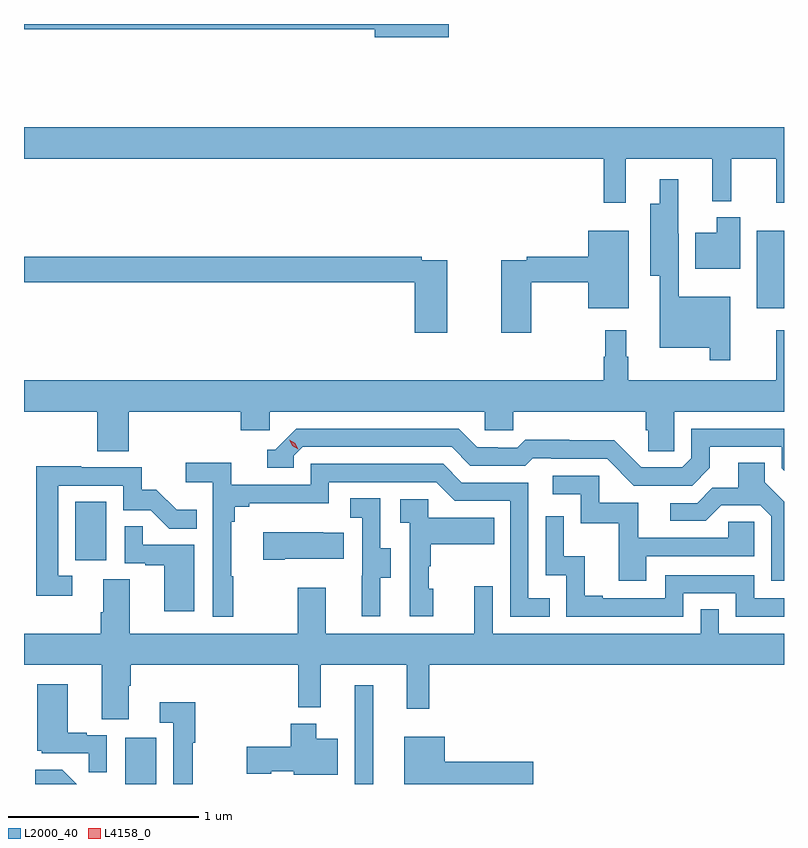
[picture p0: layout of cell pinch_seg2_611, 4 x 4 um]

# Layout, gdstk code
import gdstk
lib = gdstk.Library(unit=1e-6, precision=1e-09)
def R(c, l, rs):  # rectangles x0, y0, x1, y1
    for r in rs: c.add(gdstk.rectangle(r[:2], r[2:], *l))
def P(c, l, *ps):  # polygons
    for p in ps: c.add(gdstk.Polygon(p, *l))
L2000_40 = (2000, 40)
L4158_0 = (4158, 0)

pinch_seg2_611 = lib.new_cell('pinch_seg2_611')
R(pinch_seg2_611, L2000_40, [(1041.374,603.052,1041.538,603.295), (1042.581,603.052,1042.678,603.571), (1041.11,604.23,1041.274,604.537), (1044.698,605.555,1044.841,605.965)])
P(pinch_seg2_611, L2000_40, [(1043.077,607.052),(1040.841,607.052),(1040.841,607.024),(1042.688,607.024),(1042.688,606.982),(1043.077,606.982)],
  [(1044.009,606.344),(1044.464,606.344),(1044.464,606.119),(1044.564,606.119),(1044.564,606.344),(1044.799,606.344),(1044.799,606.111),(1044.841,606.111),(1044.841,606.508),(1040.841,606.508),(1040.841,606.344),(1043.893,606.344),(1043.893,606.111),(1044.009,606.111)],
  [(1044.558,605.617),(1044.286,605.617),(1044.286,605.949),(1044.285,605.949),(1044.285,606.235),(1044.188,606.235),(1044.188,606.106),(1044.137,606.106),(1044.137,605.726),(1044.188,605.726),(1044.188,605.348),(1044.45,605.348),(1044.45,605.283),(1044.558,605.283)],
  [(1044.61,606.034),(1044.488,606.034),(1044.488,605.953),(1044.374,605.953),(1044.374,605.765),(1044.61,605.765)],
  [(1043.512,605.692),(1043.81,605.692),(1043.81,605.555),(1044.025,605.555),(1044.025,605.965),(1043.81,605.965),(1043.81,605.828),(1043.488,605.828),(1043.488,605.808),(1043.354,605.808),(1043.354,605.427),(1043.512,605.427)],
  [(1043.068,605.808),(1042.934,605.808),(1042.934,605.828),(1040.841,605.828),(1040.841,605.692),(1042.898,605.692),(1042.898,605.427),(1043.068,605.427)],
  [(1041.392,605.012),(1041.983,605.012),(1041.983,604.914),(1042.134,604.914),(1042.134,605.012),(1043.265,605.012),(1043.265,604.914),(1043.415,604.914),(1043.415,605.012),(1044.113,605.012),(1044.113,604.914),(1044.127,604.914),(1044.127,604.804),(1044.264,604.804),(1044.264,605.012),(1044.841,605.012),(1044.841,605.44),(1044.799,605.44),(1044.799,605.176),(1044.022,605.176),(1044.022,605.3),(1044.01,605.3),(1044.01,605.44),(1043.901,605.44),(1043.901,605.3),(1043.893,605.3),(1043.893,605.176),(1040.841,605.176),(1040.841,605.012),(1041.227,605.012),(1041.227,604.804),(1041.392,604.804)],
  [(1044.451,604.717),(1044.451,604.827),(1044.828,604.827),(1044.828,604.713),(1044.841,604.7),(1044.841,604.923),(1044.354,604.923),(1044.354,604.767),(1044.306,604.719),(1044.09,604.719),(1043.948,604.861),(1043.712,604.861),(1043.712,604.864),(1043.479,604.864),(1043.437,604.821),(1043.334,604.821),(1043.334,604.824),(1043.227,604.824),(1043.128,604.923),(1042.275,604.923),(1042.164,604.812),(1042.121,604.812),(1042.121,604.716),(1042.26,604.716),(1042.26,604.779),(1042.308,604.827),(1043.091,604.827),(1043.19,604.728),(1043.479,604.728),(1043.518,604.767),(1043.617,604.767),(1043.617,604.764),(1043.91,604.764),(1044.051,604.623),(1044.357,604.623)],
  [(1044.841,604.538),(1044.739,604.64),(1044.739,604.742),(1044.599,604.742),(1044.599,604.61),(1044.464,604.61),(1044.384,604.53),(1044.243,604.53),(1044.243,604.437),(1044.43,604.437),(1044.511,604.518),(1044.717,604.518),(1044.774,604.461),(1044.774,604.122),(1044.841,604.122)],
  [(1041.943,604.145),(1041.931,604.145),(1041.931,604.433),(1041.95,604.433),(1041.95,604.51),(1042.027,604.51),(1042.027,604.529),(1042.446,604.529),(1042.446,604.641),(1043.01,604.641),(1043.109,604.542),(1043.4,604.542),(1043.4,603.933),(1043.609,603.933),(1043.609,604.029),(1043.496,604.029),(1043.496,604.638),(1043.146,604.638),(1043.047,604.737),(1042.35,604.737),(1042.35,604.626),(1041.932,604.626),(1041.932,604.742),(1041.693,604.742),(1041.693,604.64),(1041.834,604.64),(1041.834,603.933),(1041.943,603.933)],
  [(1041.094,604.149),(1041.021,604.149),(1041.021,604.623),(1041.363,604.623),(1041.363,604.494),(1041.507,604.494),(1041.605,604.396),(1041.749,604.396),(1041.749,604.495),(1041.645,604.495),(1041.538,604.602),(1041.462,604.602),(1041.462,604.719),(1041.143,604.719),(1041.143,604.724),(1040.905,604.724),(1040.905,604.044),(1041.094,604.044)],
  [(1044.115,604.251),(1044.684,604.251),(1044.684,604.431),(1044.547,604.431),(1044.547,604.347),(1044.073,604.347),(1044.073,604.533),(1043.868,604.533),(1043.868,604.674),(1043.625,604.674),(1043.625,604.578),(1043.772,604.578),(1043.772,604.425),(1043.971,604.425),(1043.971,604.122),(1044.115,604.122)],
  [(1042.717,604.138),(1042.771,604.138),(1042.771,604.293),(1042.716,604.293),(1042.716,604.556),(1042.557,604.556),(1042.557,604.453),(1042.62,604.453),(1042.62,604.149),(1042.619,604.149),(1042.619,603.936),(1042.717,603.936)],
  [(1042.996,604.08),(1042.971,604.08),(1042.971,604.199),(1042.981,604.199),(1042.981,604.313),(1043.315,604.313),(1043.315,604.453),(1042.968,604.453),(1042.968,604.551),(1042.821,604.551),(1042.821,604.427),(1042.872,604.427),(1042.872,603.936),(1042.996,603.936)],
  [(1044.312,604.056),(1044.588,604.056),(1044.588,603.933),(1044.841,603.933),(1044.841,604.029),(1044.684,604.029),(1044.684,604.152),(1044.216,604.152),(1044.216,604.029),(1043.887,604.029),(1043.887,604.042),(1043.792,604.042),(1043.792,604.25),(1043.682,604.25),(1043.682,604.462),(1043.586,604.462),(1043.586,604.152),(1043.694,604.152),(1043.694,603.933),(1044.312,603.933)],
  [(1041.736,604.311),(1041.467,604.311),(1041.467,604.409),(1041.372,604.409),(1041.372,604.215),(1041.478,604.215),(1041.478,604.203),(1041.578,604.203),(1041.578,603.96),(1041.736,603.96)],
  [(1042.213,604.238),(1042.523,604.238),(1042.523,604.375),(1042.415,604.375),(1042.415,604.378),(1042.101,604.378),(1042.101,604.231),(1042.213,604.231)],
  [(1041.391,603.568),(1041.404,603.568),(1041.404,603.68),(1042.285,603.68),(1042.285,603.455),(1042.403,603.455),(1042.403,603.68),(1042.856,603.68),(1042.856,603.447),(1042.973,603.447),(1042.973,603.68),(1044.841,603.68),(1044.841,603.844),(1044.498,603.844),(1044.498,603.971),(1044.402,603.971),(1044.402,603.844),(1043.307,603.844),(1043.307,604.093),(1043.21,604.093),(1043.21,603.844),(1042.429,603.844),(1042.429,604.084),(1042.282,604.084),(1042.282,603.844),(1041.397,603.844),(1041.397,604.13),(1041.257,604.13),(1041.257,603.956),(1041.245,603.956),(1041.245,603.844),(1040.841,603.844),(1040.841,603.68),(1041.251,603.68),(1041.251,603.394),(1041.391,603.394)],
  [(1041.276,603.309),(1041.17,603.309),(1041.17,603.322),(1041.07,603.322),(1041.07,603.577),(1040.912,603.577),(1040.912,603.228),(1040.934,603.228),(1040.934,603.213),(1041.181,603.213),(1041.181,603.115),(1041.276,603.115)],
  [(1041.728,603.268),(1041.743,603.268),(1041.743,603.481),(1041.555,603.481),(1041.555,603.375),(1041.627,603.375),(1041.627,603.052),(1041.728,603.052)],
  [(1042.492,603.289),(1042.378,603.289),(1042.378,603.37),(1042.244,603.37),(1042.244,603.249),(1042.014,603.249),(1042.014,603.107),(1042.143,603.107),(1042.143,603.119),(1042.26,603.119),(1042.26,603.101),(1042.492,603.101)],
  [(1043.521,603.17),(1043.056,603.17),(1043.056,603.301),(1042.841,603.301),(1042.841,603.052),(1043.521,603.052)],
  [(1041.043,603.128),(1040.899,603.128),(1040.899,603.052),(1041.119,603.052)])
P(pinch_seg2_611, L4158_0, [(1042.284,604.813),(1042.253,604.832),(1042.236,604.864),(1042.236,604.865),(1042.236,604.865),(1042.268,604.846),(1042.284,604.813),(1042.284,604.813)])

lib.write_gds('pinch_seg2_611.gds')
